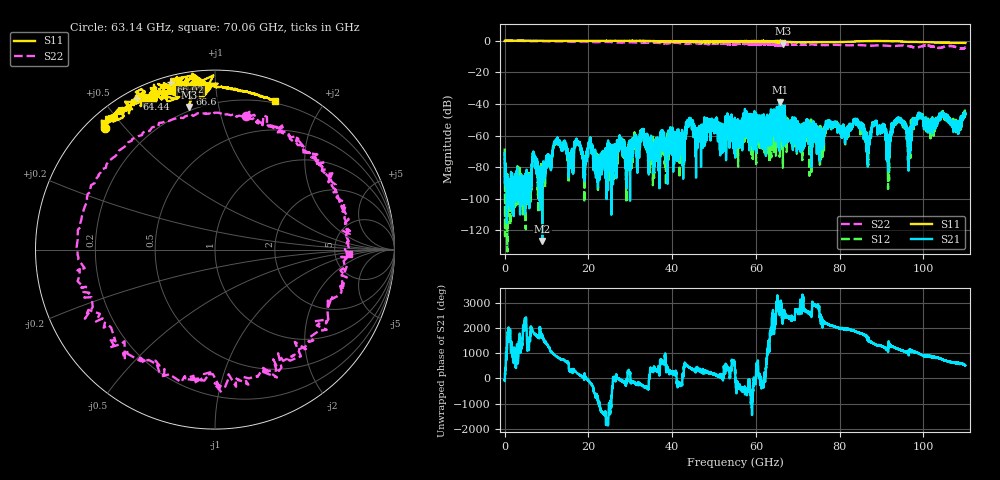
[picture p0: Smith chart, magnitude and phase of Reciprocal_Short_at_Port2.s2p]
#  HZ  S  RI  R  50.00
! Rohde & Schwarz ZVA67 4Ports - Version 4.11 - 1305.7002k04 SN: 101032
! Date: 2026-02-18 15:47:44
! Measurements: S11 S21 S12 S22
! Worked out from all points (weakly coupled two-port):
!   5500 points, 20 MHz to 110 GHz, reference 50 ohm
!   highest |S21| = -39.09 dB at 65.7 GHz (marker M1); lowest = -126.6 dB at 9 GHz (marker M2)
!   lowest |S11| = -1.9 dB at 66.5 GHz (marker M3), VSWR 9.37, Z = 8.99 + j41 ohm
!   |S11| at or under -10 dB: nowhere
!   |S22| runs from -5.2 to 0.1 dB; largest |S21 - S12| = 0.012
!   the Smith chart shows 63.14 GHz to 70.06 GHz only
!   S11 on the Smith chart (normalised r, x): 63.14 GHz: 0.05, +0.45; 64.44 GHz: 0.04, +0.61; 66.02 GHz: 0.03, +0.77; 66.6 GHz: 0.11, +0.85; 70.06 GHz: 0.18, +1.47
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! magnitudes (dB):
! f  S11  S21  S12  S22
! 20 MHz  -0.3  -71.0  -68.1  0.1
! 9 GHz  -0.1  -126.6  -90.7  -0.4
! 12.28 GHz  -0.2  -62.7  -63.2  -0.5
! 18.36 GHz  -0.2  -70.5  -69.8  -0.7
! 36.68 GHz  -0.4  -74.8  -77.4  -1.4
! 44.16 GHz  -0.8  -48.9  -51.2  -1.8
! 55.02 GHz  -0.7  -58.4  -59.3  -2.5
! 63.14 GHz  -0.8  -50.2  -67.8  -2.3
! 64.44 GHz  -0.5  -56.8  -66.1  -2.7
! 65.7 GHz  -0.6  -39.1  -73.4  -2.6
! 66.02 GHz  -0.3  -40.4  -51.1  -2.9
! 66.5 GHz  -1.9  -48.1  -56.3  -2.2
! 66.6 GHz  -1.1  -48.6  -54.8  -2.4
! 70.06 GHz  -1.0  -61.5  -60.0  -2.5
! 73.34 GHz  -1.0  -57.9  -54.7  -2.4
! 83.8 GHz  -0.6  -51.9  -50.8  -2.8
! 86.78 GHz  -0.3  -64.2  -69.8  -3.2
! 88.34 GHz  -0.3  -51.5  -51.9  -3.2
! 91.68 GHz  -0.4  -66.3  -73.2  -3.3
! 93.62 GHz  -0.4  -49.6  -50.2  -3.4
! 96.56 GHz  -0.8  -58.4  -64.1  -3.6
! 110 GHz  -1.5  -45.9  -45.7  -4.5
